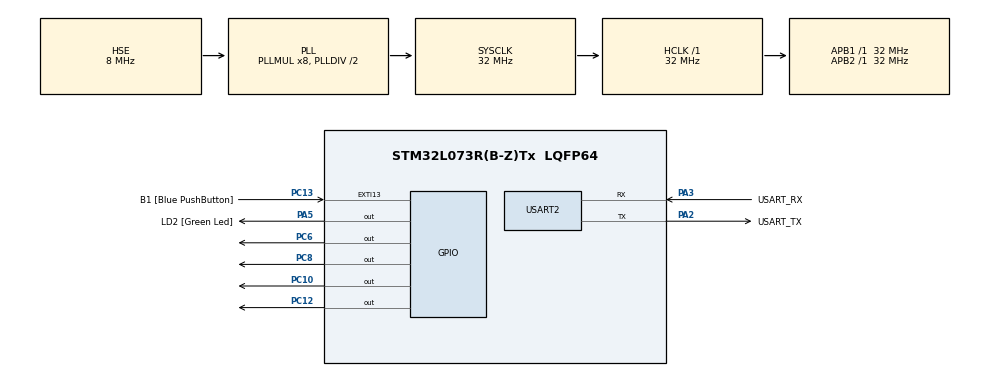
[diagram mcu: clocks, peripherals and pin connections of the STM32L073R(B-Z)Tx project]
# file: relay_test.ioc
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LPTIM1.ClockPrescaler=LPTIM_PRESCALER_DIV32
Mcu.Family=STM32L0
Mcu.Name=STM32L073R(B-Z)Tx
Mcu.Package=LQFP64
NVIC.LPTIM1_IRQn=true\:0\:0\:false\:false\:true\:true\:true\:true
NVIC.RCC_CRS_IRQn=true\:0\:0\:false\:false\:true\:true\:false\:true
NVIC.RTC_IRQn=true\:0\:0\:false\:false\:true\:true\:true\:true
NVIC.USART2_IRQn=true\:0\:0\:false\:false\:true\:true\:true\:true
PA13.GPIO_Label=TMS
PA13.Mode=Serial_Wire
PA13.Signal=SYS_SWDIO
PA14.GPIO_Label=TCK
PA14.Mode=Serial_Wire
PA14.Signal=SYS_SWCLK
PA2.GPIO_Label=USART_TX
PA2.Mode=Asynchronous
PA2.Signal=USART2_TX
PA3.GPIO_Label=USART_RX
PA3.Mode=Asynchronous
PA3.Signal=USART2_RX
PA5.GPIO_Label=LD2 [Green Led]
PA5.Signal=GPIO_Output
PC10.Signal=GPIO_Output
PC12.Signal=GPIO_Output
PC13.GPIO_Label=B1 [Blue PushButton]
PC13.GPIO_ModeDefaultEXTI=GPIO_MODE_IT_FALLING
PC13.Signal=GPXTI13
PC14-OSC32_IN.Mode=LSE-External-Oscillator
PC14-OSC32_IN.Signal=RCC_OSC32_IN
PC15-OSC32_OUT.Mode=LSE-External-Oscillator
PC15-OSC32_OUT.Signal=RCC_OSC32_OUT
PC6.Signal=GPIO_Output
PC8.Signal=GPIO_Output
PH0-OSC_IN.GPIO_Label=MCO
PH0-OSC_IN.Mode=HSE-External-Clock-Source
PH0-OSC_IN.Signal=RCC_OSC_IN
ProjectManager.HeapSize=0x200
ProjectManager.StackSize=0x400
ProjectManager.TargetToolchain=STM32CubeIDE
RCC.AHBFreq_Value=32000000
RCC.APB1Freq_Value=32000000
RCC.APB1TimFreq_Value=32000000
RCC.APB2Freq_Value=32000000
RCC.APB2TimFreq_Value=32000000
RCC.HCLKFreq_Value=32000000
RCC.HSE_VALUE=8000000
RCC.HSI16_VALUE=16000000
RCC.HSI48_VALUE=48000000
RCC.HSI_VALUE=16000000
RCC.MSI_VALUE=2097000
RCC.PLLMUL=RCC_PLLMUL_8
RCC.PLLSourceVirtual=RCC_PLLSOURCE_HSE
RCC.SYSCLKFreq_VALUE=32000000
RCC.SYSCLKSource=RCC_SYSCLKSOURCE_PLLCLK
RCC.VCOOutputFreq_Value=64000000
RTC.SynchPrediv=329
RTC.WakeUpClock-WakeUp=RTC_WAKEUPCLOCK_CK_SPRE_16BITS
RTC.WakeUpCounter-WakeUp=59
USART2.VirtualMode-Asynchronous=VM_ASYNC
VP_LPTIM1_VS_LPTIM_counterModeInternalClock.Mode=Counts__internal_clock_event_00
VP_RTC_VS_RTC_Activate.Mode=RTC_Enabled
VP_RTC_VS_RTC_Calendar.Mode=RTC_Calendar
VP_RTC_VS_RTC_WakeUp_intern.Mode=WakeUp
board=NUCLEO-L073RZ

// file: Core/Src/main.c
/* USER CODE BEGIN Header */
/**
  ******************************************************************************
  * @file           : main.c
  * @brief          : Main program body
  ******************************************************************************
  * @attention
  *
  * Copyright (c) 2026 STMicroelectronics.
  * All rights reserved.
  *
  * This software is licensed under terms that can be found in the LICENSE file
  * in the root directory of this software component.
  * If no LICENSE file comes with this software, it is provided AS-IS.
  *
  ******************************************************************************
  */
/* USER CODE END Header */
#include "main.h"

/* USER CODE BEGIN Includes */
#include "stdio.h"
#include "string.h"
/* USER CODE END Includes */

LPTIM_HandleTypeDef hlptim1;

RTC_HandleTypeDef hrtc;

UART_HandleTypeDef huart2;

/* USER CODE BEGIN PV */

uint8_t rxData;
uint8_t Debug_RX[1000];
uint16_t Debug_RX_Index = 0;
uint8_t Debug_RX_Flag = 0;
uint8_t debug_echo = 1;
uint32_t time_cnt = 0, time_cnt_total = 0;
uint8_t time_cnt_main = 10;
uint8_t time_flag = 0;
//uint8_t DIAG_Period =0; ABN_Confirm_cnt= 0, Recover_DIAG_cnt = 0;
uint32_t period = 0;
uint32_t abn = 0;
uint32_t recover = 0;
int _write(int fd, char *str, int len)
{
	HAL_UART_Transmit(&huart2, (uint8_t *)str, len, 0xFFFF);
	return len;
}

void HAL_UART_RxCpltCallback(UART_HandleTypeDef *huart) {

    /*
        This will be called once data is received successfully,
        via interrupts.
    */

     /*
       loop back received data
     */
	if(huart == &huart2)
	{
		 HAL_UART_Receive_IT(&huart2, &rxData, 1);
		 if(debug_echo)
				 HAL_UART_Transmit(&huart2, &rxData, 1, 1000);

		 Debug_RX[Debug_RX_Index++] = rxData;
		 if(rxData=='\r')
		 {
			 Debug_RX[Debug_RX_Index++]=0;
			 Debug_RX_Flag = 1;
		 }
	}
}
void HAL_LPTIM_TriggerCallback(LPTIM_HandleTypeDef *hlptim)
{
	if(++time_cnt>=1000)
	{
		time_cnt=0;
		//time_cnt_main++;
		time_flag =1;
	}
}
void HAL_RTCEx_WakeUpTimerEventCallback(RTC_HandleTypeDef *hrtc)
{
    if (hrtc->Instance == RTC)
    {
        time_cnt_main++;
    }
}
/* USER CODE END PV */

void SystemClock_Config(void);
static void MX_GPIO_Init(void);
static void MX_RTC_Init(void);
static void MX_USART2_UART_Init(void);
static void MX_LPTIM1_Init(void);
/* USER CODE BEGIN PFP */
void CMD_excute(char *data);
void set_action(char set_data);
/* USER CODE END PFP */

/* USER CODE BEGIN 0 */
#define MAX_SEQ_CNT    7
/* USER CODE END 0 */

int main(void)
{

  /* USER CODE BEGIN 1 */
	//                0   1   2   3   4   5   6   7   8   9  10  11
	char seq_num[70]={3,  5,  9, 19, 21, 25, 27, 30,  0,  0,  0,  0};
	char set_mod[70]={0,  1,  2,  0,  2,  1,  2,  1,  0,  0,  0,  0};
	//char seq_num[70]={7, 16, 21, 25, 27, 33, 44, 49, 54, 59, 66, 69};
	//char set_mod[70]={2,  0,  1,  2,  1,  2,  1,  2,  0,  2,  1,  2};
	int i=0;
	char pre_set_mod =0;
	char pre_seq = 0;
  /* USER CODE END 1 */

  /* MCU Configuration--------------------------------------------------------*/

  /* Reset of all peripherals, Initializes the Flash interface and the Systick. */
  HAL_Init();

  /* Configure the system clock */
  SystemClock_Config();

  /* Initialize all configured peripherals */
  MX_GPIO_Init();
  MX_RTC_Init();
  MX_USART2_UART_Init();
  MX_LPTIM1_Init();
  /* USER CODE BEGIN 2 */

  if (HAL_RTCEx_SetWakeUpTimer_IT(&hrtc,
                                  59,
                                  RTC_WAKEUPCLOCK_CK_SPRE_16BITS) != HAL_OK)
  {
      Error_Handler();
  }
  HAL_UART_Receive_IT(&huart2, &rxData, 1);
  HAL_LPTIM_Counter_Start_IT(&hlptim1, 10000);
  memset(Debug_RX, 0, sizeof(Debug_RX));
  printf("==== Relay TEST ====\r\n");
  /* USER CODE END 2 */

  /* Infinite loop */
  while (1)
  {

    /* USER CODE BEGIN 3 */
	  if(time_flag)
	  {
		  time_flag = 0;
		  printf("time flag\r\n");
	  }
	  if(time_cnt_main>=10)
	  {
		  time_cnt_main=0;
		  time_cnt_total++;
		  for(i=0; i<=MAX_SEQ_CNT; i++)
		  {
			  if((pre_seq <= time_cnt_total)&&(time_cnt_total < seq_num[i]))
			  {
				  pre_seq = time_cnt_total;
				  if(pre_set_mod != set_mod[i])
				  {
					  pre_set_mod = set_mod[i];
					  set_action(set_mod[i]);
					  printf("change %d seq %d set %d\r\n", i, seq_num[i], set_mod[i]);
				  }
				  break;
			  }
		  }
		  printf("time = %d\r\n", (uint16_t)time_cnt_total);
		  if(time_cnt_total >= seq_num[MAX_SEQ_CNT])
		  {
			  time_cnt_total = 0;
			  pre_seq=0;
		  }
	  }
	  if(Debug_RX_Flag == 1)
	  {
		  printf("\nRECV[%d] : %s\r\n", Debug_RX_Index, Debug_RX);
		  CMD_excute(Debug_RX);
		  memset(Debug_RX, 0, sizeof(Debug_RX));
		  Debug_RX_Flag = 0;
		  Debug_RX_Index = 0;

	  }
  }
  /* USER CODE END 3 */
}

void SystemClock_Config(void)
{
  RCC_OscInitTypeDef RCC_OscInitStruct = {0};
  RCC_ClkInitTypeDef RCC_ClkInitStruct = {0};
  RCC_PeriphCLKInitTypeDef PeriphClkInit = {0};

  /** Configure the main internal regulator output voltage
  */
  __HAL_PWR_VOLTAGESCALING_CONFIG(PWR_REGULATOR_VOLTAGE_SCALE1);

  /** Initializes the RCC Oscillators according to the specified parameters
  * in the RCC_OscInitTypeDef structure.
  */
  RCC_OscInitStruct.OscillatorType = RCC_OSCILLATORTYPE_LSI|RCC_OSCILLATORTYPE_HSE;
  RCC_OscInitStruct.HSEState = RCC_HSE_BYPASS;
  RCC_OscInitStruct.LSIState = RCC_LSI_ON;
  RCC_OscInitStruct.PLL.PLLState = RCC_PLL_ON;
  RCC_OscInitStruct.PLL.PLLSource = RCC_PLLSOURCE_HSE;
  RCC_OscInitStruct.PLL.PLLMUL = RCC_PLLMUL_8;
  RCC_OscInitStruct.PLL.PLLDIV = RCC_PLLDIV_2;
  if (HAL_RCC_OscConfig(&RCC_OscInitStruct) != HAL_OK)
  {
    Error_Handler();
  }

  /** Initializes the CPU, AHB and APB buses clocks
  */
  RCC_ClkInitStruct.ClockType = RCC_CLOCKTYPE_HCLK|RCC_CLOCKTYPE_SYSCLK
                              |RCC_CLOCKTYPE_PCLK1|RCC_CLOCKTYPE_PCLK2;
  RCC_ClkInitStruct.SYSCLKSource = RCC_SYSCLKSOURCE_PLLCLK;
  RCC_ClkInitStruct.AHBCLKDivider = RCC_SYSCLK_DIV1;
  RCC_ClkInitStruct.APB1CLKDivider = RCC_HCLK_DIV1;
  RCC_ClkInitStruct.APB2CLKDivider = RCC_HCLK_DIV1;

  if (HAL_RCC_ClockConfig(&RCC_ClkInitStruct, FLASH_LATENCY_1) != HAL_OK)
  {
    Error_Handler();
  }
  PeriphClkInit.PeriphClockSelection = RCC_PERIPHCLK_USART2|RCC_PERIPHCLK_RTC
                              |RCC_PERIPHCLK_LPTIM1;
  PeriphClkInit.Usart2ClockSelection = RCC_USART2CLKSOURCE_PCLK1;
  PeriphClkInit.RTCClockSelection = RCC_RTCCLKSOURCE_LSI;
  PeriphClkInit.LptimClockSelection = RCC_LPTIM1CLKSOURCE_PCLK;

  if (HAL_RCCEx_PeriphCLKConfig(&PeriphClkInit) != HAL_OK)
  {
    Error_Handler();
  }
}

static void MX_LPTIM1_Init(void)
{

  hlptim1.Instance = LPTIM1;
  hlptim1.Init.Clock.Source = LPTIM_CLOCKSOURCE_APBCLOCK_LPOSC;
  hlptim1.Init.Clock.Prescaler = LPTIM_PRESCALER_DIV32;
  hlptim1.Init.Trigger.Source = LPTIM_TRIGSOURCE_SOFTWARE;
  hlptim1.Init.OutputPolarity = LPTIM_OUTPUTPOLARITY_HIGH;
  hlptim1.Init.UpdateMode = LPTIM_UPDATE_IMMEDIATE;
  hlptim1.Init.CounterSource = LPTIM_COUNTERSOURCE_INTERNAL;
  if (HAL_LPTIM_Init(&hlptim1) != HAL_OK)
  {
    Error_Handler();
  }

}

static void MX_RTC_Init(void)
{

  RTC_TimeTypeDef sTime = {0};
  RTC_DateTypeDef sDate = {0};

  /** Initialize RTC Only
  */
  hrtc.Instance = RTC;
  hrtc.Init.HourFormat = RTC_HOURFORMAT_24;
  hrtc.Init.AsynchPrediv = 127;
  hrtc.Init.SynchPrediv = 329;
  hrtc.Init.OutPut = RTC_OUTPUT_DISABLE;
  hrtc.Init.OutPutRemap = RTC_OUTPUT_REMAP_NONE;
  hrtc.Init.OutPutPolarity = RTC_OUTPUT_POLARITY_HIGH;
  hrtc.Init.OutPutType = RTC_OUTPUT_TYPE_OPENDRAIN;
  if (HAL_RTC_Init(&hrtc) != HAL_OK)
  {
    Error_Handler();
  }

  /** Initialize RTC and set the Time and Date
  */
  sTime.Hours = 0x0;
  sTime.Minutes = 0x0;
  sTime.Seconds = 0x0;
  sTime.DayLightSaving = RTC_DAYLIGHTSAVING_NONE;
  sTime.StoreOperation = RTC_STOREOPERATION_RESET;
  if (HAL_RTC_SetTime(&hrtc, &sTime, RTC_FORMAT_BCD) != HAL_OK)
  {
    Error_Handler();
  }
  sDate.WeekDay = RTC_WEEKDAY_MONDAY;
  sDate.Month = RTC_MONTH_JANUARY;
  sDate.Date = 0x1;
  sDate.Year = 0x0;

  if (HAL_RTC_SetDate(&hrtc, &sDate, RTC_FORMAT_BCD) != HAL_OK)
  {
    Error_Handler();
  }

  /** Enable the WakeUp
  */
  if (HAL_RTCEx_SetWakeUpTimer_IT(&hrtc, 59, RTC_WAKEUPCLOCK_CK_SPRE_16BITS) != HAL_OK)
  {
    Error_Handler();
  }

}

static void MX_USART2_UART_Init(void)
{

  huart2.Instance = USART2;
  huart2.Init.BaudRate = 115200;
  huart2.Init.WordLength = UART_WORDLENGTH_8B;
  huart2.Init.StopBits = UART_STOPBITS_1;
  huart2.Init.Parity = UART_PARITY_NONE;
  huart2.Init.Mode = UART_MODE_TX_RX;
  huart2.Init.HwFlowCtl = UART_HWCONTROL_NONE;
  huart2.Init.OverSampling = UART_OVERSAMPLING_16;
  huart2.Init.OneBitSampling = UART_ONE_BIT_SAMPLE_DISABLE;
  huart2.AdvancedInit.AdvFeatureInit = UART_ADVFEATURE_NO_INIT;
  if (HAL_UART_Init(&huart2) != HAL_OK)
  {
    Error_Handler();
  }

}

static void MX_GPIO_Init(void)
{
  GPIO_InitTypeDef GPIO_InitStruct = {0};

  /* GPIO Ports Clock Enable */
  __HAL_RCC_GPIOC_CLK_ENABLE();
  __HAL_RCC_GPIOH_CLK_ENABLE();
  __HAL_RCC_GPIOA_CLK_ENABLE();

  /*Configure GPIO pin Output Level */
  HAL_GPIO_WritePin(LD2_GPIO_Port, LD2_Pin, GPIO_PIN_RESET);

  /*Configure GPIO pin Output Level */
  HAL_GPIO_WritePin(GPIOC, GPIO_PIN_6|GPIO_PIN_8|GPIO_PIN_10|GPIO_PIN_12, GPIO_PIN_RESET);

  /*Configure GPIO pin : B1_Pin */
  GPIO_InitStruct.Pin = B1_Pin;
  GPIO_InitStruct.Mode = GPIO_MODE_IT_FALLING;
  GPIO_InitStruct.Pull = GPIO_NOPULL;
  HAL_GPIO_Init(B1_GPIO_Port, &GPIO_InitStruct);

  /*Configure GPIO pin : LD2_Pin */
  GPIO_InitStruct.Pin = LD2_Pin;
  GPIO_InitStruct.Mode = GPIO_MODE_OUTPUT_PP;
  GPIO_InitStruct.Pull = GPIO_NOPULL;
  GPIO_InitStruct.Speed = GPIO_SPEED_FREQ_LOW;
  HAL_GPIO_Init(LD2_GPIO_Port, &GPIO_InitStruct);

  /*Configure GPIO pins : PC6 PC8 PC10 PC12 */
  GPIO_InitStruct.Pin = GPIO_PIN_6|GPIO_PIN_8|GPIO_PIN_10|GPIO_PIN_12;
  GPIO_InitStruct.Mode = GPIO_MODE_OUTPUT_PP;
  GPIO_InitStruct.Pull = GPIO_NOPULL;
  GPIO_InitStruct.Speed = GPIO_SPEED_FREQ_LOW;
  HAL_GPIO_Init(GPIOC, &GPIO_InitStruct);

}

/* USER CODE BEGIN 4 */
void CMD_excute(char *data)
{
	if (strncmp(data, "setperi ", 8) == 0)
	{
		unsigned long p, a, r;
		char extra;

		if (sscanf(data + 8, "%lu %lu %lu %c",
				   &p, &a, &r, &extra) == 3 &&
			p <= UINT32_MAX &&
			a <= UINT32_MAX &&
			r <= UINT32_MAX)
		{
			period = (uint32_t)p;
			abn = (uint32_t)a;
			recover = (uint32_t)r;

			printf("period = %lu\r\n", (unsigned long)period);
			printf("abn = %lu\r\n", (unsigned long)abn);
			printf("recover = %lu\r\n", (unsigned long)recover);
		}
		else
		{
			printf("ERROR: setperi [period] [abn] [recover]\r\n");
		}
	}
	else if(strncmp(data, "r1on",4)==0)
	{
		HAL_GPIO_WritePin(GPIOC, GPIO_PIN_10, GPIO_PIN_SET);
		printf("==== Relay 1 ON ====\r\n");
	}
	else if(strncmp(data, "r1off", 5)==0)
	{
		HAL_GPIO_WritePin(GPIOC, GPIO_PIN_10, GPIO_PIN_RESET);
		printf("==== Relay 1 OFF ====\r\n");
	}
	else if(strncmp(data, "r2on",4)==0)
	{
		HAL_GPIO_WritePin(GPIOC, GPIO_PIN_12, GPIO_PIN_SET);
		printf("==== Relay 2 ON ====\r\n");
	}
	else if(strncmp(data, "r2off", 5)==0)
	{
		HAL_GPIO_WritePin(GPIOC, GPIO_PIN_12, GPIO_PIN_RESET);
		printf("==== Relay 2 OFF ====\r\n");
	}
	else if(strncmp(data, "r3on",4)==0)
	{
		HAL_GPIO_WritePin(GPIOC, GPIO_PIN_8, GPIO_PIN_SET);
		printf("==== Relay 3 ON ====\r\n");
	}
	else if(strncmp(data, "r3off", 5)==0)
	{
		HAL_GPIO_WritePin(GPIOC, GPIO_PIN_8, GPIO_PIN_RESET);
		printf("==== Relay 3 OFF ====\r\n");
	}
	else if(strncmp(data, "r4on",4)==0)
	{
		HAL_GPIO_WritePin(GPIOC, GPIO_PIN_6, GPIO_PIN_SET);
		printf("==== Relay 4 ON ====\r\n");
	}
	else if(strncmp(data, "r4off", 5)==0)
	{
		HAL_GPIO_WritePin(GPIOC, GPIO_PIN_6, GPIO_PIN_RESET);
		printf("==== Relay 4 OFF ====\r\n");
	}
}
void set_action(char set_data)
{
	switch(set_data)
	{
	case 0:
		printf("R1:0 R2:0 R3:0 R4:0\r\n");
		HAL_GPIO_WritePin(GPIOC, GPIO_PIN_10, GPIO_PIN_RESET); //r1
		HAL_GPIO_WritePin(GPIOC, GPIO_PIN_12, GPIO_PIN_RESET); //r2
		HAL_GPIO_WritePin(GPIOC, GPIO_PIN_8, GPIO_PIN_RESET); //r3
		HAL_GPIO_WritePin(GPIOC, GPIO_PIN_6, GPIO_PIN_RESET); //r4
		break;
	case 1:
		printf("R1:1 R2:0 R3:1 R4:0\r\n");
		HAL_GPIO_WritePin(GPIOC, GPIO_PIN_10, GPIO_PIN_SET); //r1
		HAL_GPIO_WritePin(GPIOC, GPIO_PIN_12, GPIO_PIN_RESET); //r2
		HAL_GPIO_WritePin(GPIOC, GPIO_PIN_8, GPIO_PIN_SET); //r3
		HAL_GPIO_WritePin(GPIOC, GPIO_PIN_6, GPIO_PIN_RESET); //r4
		break;
	case 2:
		printf("R1:1 R2:1 R3:1 R4:1\r\n");
		HAL_GPIO_WritePin(GPIOC, GPIO_PIN_10, GPIO_PIN_SET); //r1
		HAL_GPIO_WritePin(GPIOC, GPIO_PIN_12, GPIO_PIN_SET); //r2
		HAL_GPIO_WritePin(GPIOC, GPIO_PIN_8, GPIO_PIN_SET); //r3
		HAL_GPIO_WritePin(GPIOC, GPIO_PIN_6, GPIO_PIN_SET); //r4
		break;
	default:
		printf("default R1:0 R2:0 R3:0 R4:0\r\n");
		HAL_GPIO_WritePin(GPIOC, GPIO_PIN_10, GPIO_PIN_RESET); //r1
		HAL_GPIO_WritePin(GPIOC, GPIO_PIN_12, GPIO_PIN_RESET); //r2
		HAL_GPIO_WritePin(GPIOC, GPIO_PIN_8, GPIO_PIN_RESET); //r3
		HAL_GPIO_WritePin(GPIOC, GPIO_PIN_6, GPIO_PIN_RESET); //r4
		break;
	}
}
/* USER CODE END 4 */

void Error_Handler(void)
{
  __disable_irq();
  while (1)
  {
  }
}
